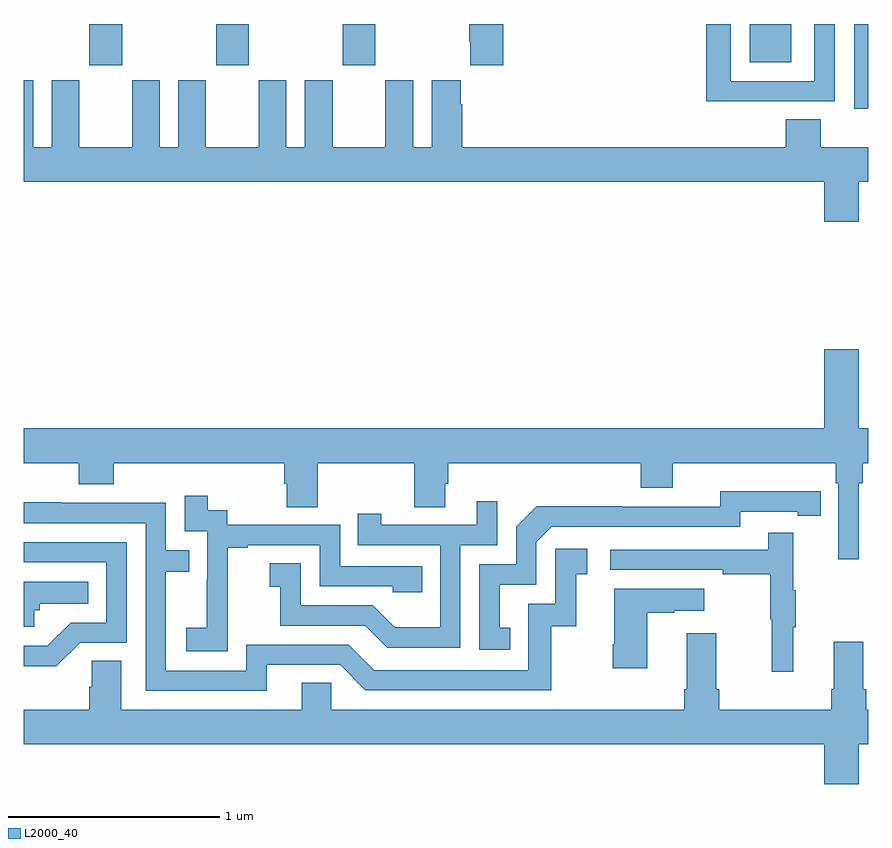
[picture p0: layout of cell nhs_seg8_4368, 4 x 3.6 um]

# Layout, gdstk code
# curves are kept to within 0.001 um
import gdstk
lib = gdstk.Library(unit=1e-6, precision=1e-09)
def R(c, l, rs):  # rectangles x0, y0, x1, y1
    for r in rs: c.add(gdstk.rectangle(r[:2], r[2:], *l))
def A(c, l, x, y, w, h, nx, ny, dx, dy):  # array of equal rectangles
    R(c, l, [(x+i*dx, y+j*dy, x+i*dx+w, y+j*dy+h) for i in range(nx) for j in range(ny)])
def P(c, l, *ps):  # polygons
    for p in ps: c.add(gdstk.Polygon(p, *l))
L2000_40 = (2000, 40)

nhs_seg8_4368 = lib.new_cell('nhs_seg8_4368')
A(nhs_seg8_4368, L2000_40, 377.311, 1131.705, 0.155, 0.195, 3, 1, 0.6, 0)
R(nhs_seg8_4368, L2000_40, [(380.934,1131.498,381,1131.9), (380.438,1131.719,380.635,1131.9)])
P(nhs_seg8_4368, L2000_40, [(380.525,1131.534),(380.841,1131.534),(380.841,1131.9),(380.745,1131.9),(380.745,1131.63),(380.349,1131.63),(380.349,1131.9),(380.233,1131.9),(380.233,1131.533),(380.525,1131.533)],
  [(379.271,1131.9),(379.111,1131.9),(379.111,1131.817),(379.115,1131.817),(379.115,1131.705),(379.271,1131.705)],
  [(380.792,1130.964),(380.956,1130.964),(380.956,1131.152),(381,1131.152),(381,1131.316),(380.774,1131.316),(380.774,1131.449),(380.609,1131.449),(380.609,1131.316),(379.076,1131.316),(379.076,1131.521),(379.069,1131.521),(379.069,1131.634),(378.932,1131.634),(378.932,1131.316),(378.844,1131.316),(378.844,1131.634),(378.713,1131.634),(378.713,1131.316),(378.463,1131.316),(378.463,1131.634),(378.332,1131.634),(378.332,1131.316),(378.244,1131.316),(378.244,1131.634),(378.113,1131.634),(378.113,1131.316),(377.863,1131.316),(377.863,1131.634),(377.732,1131.634),(377.732,1131.316),(377.644,1131.316),(377.644,1131.634),(377.513,1131.634),(377.513,1131.316),(377.263,1131.316),(377.263,1131.634),(377.132,1131.634),(377.132,1131.316),(377.044,1131.316),(377.044,1131.634),(377,1131.634),(377,1131.152),(380.792,1131.152)],
  [(380.956,1129.724),(380.975,1129.724),(380.975,1129.82),(381,1129.82),(381,1129.984),(380.956,1129.984),(380.956,1130.359),(380.792,1130.359),(380.792,1129.984),(377,1129.984),(377,1129.82),(377.261,1129.82),(377.261,1129.721),(377.426,1129.721),(377.426,1129.82),(378.233,1129.82),(378.233,1129.722),(378.245,1129.722),(378.245,1129.612),(378.393,1129.612),(378.393,1129.82),(378.85,1129.82),(378.85,1129.612),(378.997,1129.612),(378.997,1129.722),(379.01,1129.722),(379.01,1129.82),(379.922,1129.82),(379.922,1129.703),(380.074,1129.703),(380.074,1129.82),(380.846,1129.82),(380.846,1129.724),(380.859,1129.724),(380.859,1129.365),(380.956,1129.365)],
  [(379.304,1129.041),(379.255,1129.041),(379.255,1129.245),(379.428,1129.245),(379.428,1129.446),(379.5,1129.518),(380.394,1129.518),(380.394,1129.59),(380.666,1129.59),(380.666,1129.57),(380.774,1129.57),(380.774,1129.686),(380.298,1129.687),(380.298,1129.614),(379.838,1129.614),(379.838,1129.616),(379.43,1129.616),(379.332,1129.518),(379.332,1129.341),(379.158,1129.341),(379.158,1128.936),(379.304,1128.936)],
  [(377.967,1129.135),(377.966,1129.135),(377.966,1129.419),(378.061,1129.419),(378.061,1129.431),(378.402,1129.431),(378.402,1129.236),(378.747,1129.236),(378.747,1129.209),(378.887,1129.209),(378.887,1129.332),(378.498,1129.332),(378.498,1129.527),(377.964,1129.527),(377.964,1129.596),(377.872,1129.596),(377.872,1129.666),(377.763,1129.666),(377.763,1129.497),(377.868,1129.497),(377.868,1129.268),(377.867,1129.268),(377.867,1129.039),(377.769,1129.039),(377.769,1128.929),(377.967,1128.929)],
  [(379.068,1129.431),(379.242,1129.431),(379.242,1129.639),(379.145,1129.639),(379.145,1129.527),(378.694,1129.527),(378.694,1129.579),(378.583,1129.579),(378.583,1129.431),(378.972,1129.431),(378.972,1129.042),(378.758,1129.042),(378.654,1129.146),(378.312,1129.146),(378.312,1129.345),(378.165,1129.345),(378.165,1129.235),(378.214,1129.235),(378.214,1129.05),(378.617,1129.05),(378.722,1128.945),(379.068,1128.945)],
  [(378.151,1128.864),(378.498,1128.864),(378.618,1128.744),(379.498,1128.744),(379.498,1129.047),(379.616,1129.047),(379.616,1129.293),(379.669,1129.293),(379.669,1129.414),(379.518,1129.414),(379.518,1129.155),(379.389,1129.155),(379.389,1128.84),(378.66,1128.84),(378.54,1128.96),(378.054,1128.96),(378.054,1128.837),(377.673,1128.837),(377.673,1129.306),(377.783,1129.306),(377.783,1129.407),(377.673,1129.407),(377.673,1129.632),(377.177,1129.632),(377.177,1129.634),(377,1129.634),(377,1129.536),(377.577,1129.536),(377.577,1128.741),(378.151,1128.741)],
  [(380.645,1129.043),(380.656,1129.043),(380.656,1129.217),(380.645,1129.217),(380.645,1129.489),(380.527,1129.489),(380.527,1129.41),(379.779,1129.41),(379.779,1129.314),(380.311,1129.314),(380.311,1129.294),(380.535,1129.294),(380.535,1129.08),(380.542,1129.08),(380.542,1128.831),(380.645,1128.831)],
  [(377.268,1128.969),(377.487,1128.969),(377.487,1129.446),(377,1129.446),(377,1129.35),(377.391,1129.35),(377.391,1129.065),(377.222,1129.065),(377.111,1128.954),(377,1128.954),(377,1128.857),(377.155,1128.857)],
  [(377.049,1129.122),(377.076,1129.122),(377.076,1129.154),(377.306,1129.154),(377.306,1129.258),(377,1129.258),(377,1129.046),(377.049,1129.046)],
  [(379.954,1129.111),(380.081,1129.111),(380.081,1129.121),(380.224,1129.121),(380.224,1129.225),(379.796,1129.225),(379.796,1128.961),(379.789,1128.961),(379.789,1128.849),(379.954,1128.849)],
  [(380.956,1128.488),(381,1128.488),(381,1128.652),(380.99,1128.652),(380.99,1128.748),(380.977,1128.748),(380.977,1128.973),(380.837,1128.973),(380.837,1128.748),(380.825,1128.748),(380.825,1128.652),(380.294,1128.652),(380.294,1128.748),(380.281,1128.748),(380.281,1129.015),(380.141,1129.015),(380.141,1128.748),(380.129,1128.748),(380.129,1128.652),(378.456,1128.652),(378.456,1128.779),(378.317,1128.779),(378.317,1128.652),(377.461,1128.652),(377.461,1128.884),(377.322,1128.884),(377.322,1128.761),(377.309,1128.761),(377.309,1128.652),(377,1128.652),(377,1128.488),(380.792,1128.488),(380.792,1128.3),(380.956,1128.3)])

lib.write_gds('nhs_seg8_4368.gds')
